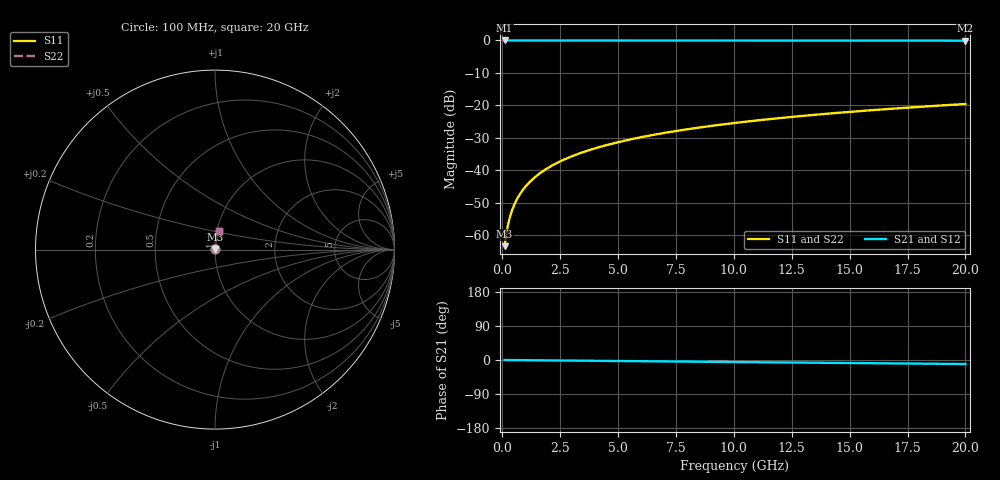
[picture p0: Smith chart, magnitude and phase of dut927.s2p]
! Touchstone file exported from HFSS 2026.1.0
!  File:  C:/ffzhzh/LocalFiles/Ansys_Project_Files/temp_train_TSV_927_1783186746_55132.aedt
!  Generated:  01:40:53 AM Jul  5, 2026
!  Design:  TSV
!  Project:  temp_train_TSV_927_1783186746_55132
! Variables:
!  h_bsmrdl = 2um
!  h_ox = 20um
!  h_rdl = 5um
!  h_sub = 81.26um
!  h_tmrdl = 5um
!  h_tsv = 81.26um
!  h_via = 3um
!  l_bsmrdl = 300um
!  l_sub = 410.48um
!  l_tmrdl = 200um
!  m_sub = 200um
!  pitch = 57.33um
!  r_tsv = 5.24um
!  s_tmrdl = 10um
!  w_bsmrdl = 18um
!  w_sub = 500um
!  w_tmrdl = 12um
!  x_tsv_center1 = 206um
!  x_tsv_center2 = 524um
!  x_tsv_center3 = 736um
!  x_tsv_center4 = 1054um
!  x_tsv_center5 = 1266um
!  x_tsv_center6 = 1584um
# GHz S MA R 50.000000
! Terminal data exported
! Port[1] = TSV1_1_T1
! Port[2] = TSV1_1_T2
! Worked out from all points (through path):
!   200 points, 100 MHz to 20 GHz, reference 50 ohm
!   highest |S21| = 0.00 dB at 100 MHz (marker M1); lowest = -0.1 dB at 20 GHz (marker M2)
!   group delay of S21, straight-line fit = 1.47 ps
!   lowest |S11| = -63.3 dB at 100 MHz (marker M3), VSWR 1.00, Z = 50 + j0.0572 ohm
!   |S11| at or under -10 dB: start of sweep to end of sweep
!   |S22| runs from -63.3 to -19.6 dB; largest |S21 - S12| = 2e-15
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0.1  0.0006806 57.1  0.9996 -0.1  0.9996 -0.1  0.0006806 57.1
! Gamma 0 0 0 0
! Port Impedance 50 0 50 0
0.2  0.001202 71.6  0.9996 -0.1  0.9996 -0.1  0.001202 71.6
0.3  0.001753 77.0  0.9996 -0.2  0.9996 -0.2  0.001753 77.0
0.4  0.002308 79.7  0.9996 -0.2  0.9996 -0.2  0.002308 79.7
0.5  0.002863 81.2  0.9996 -0.3  0.9996 -0.3  0.002863 81.2
0.7  0.003967 83.0  0.9995 -0.4  0.9995 -0.4  0.003967 83.0
0.8  0.004517 83.5  0.9995 -0.4  0.9995 -0.4  0.004517 83.5
1  0.005611 84.3  0.9995 -0.5  0.9995 -0.5  0.005611 84.3
1.2  0.006702 84.8  0.9994 -0.7  0.9994 -0.7  0.006702 84.8
1.4  0.00779 85.1  0.9994 -0.8  0.9994 -0.8  0.00779 85.1
1.7  0.00942 85.4  0.9993 -0.9  0.9993 -0.9  0.00942 85.4
2  0.01105 85.6  0.9993 -1.1  0.9993 -1.1  0.01105 85.6
2.7  0.01483 85.7  0.9991 -1.5  0.9991 -1.5  0.01483 85.7
3.5  0.01913 85.6  0.999 -1.9  0.999 -1.9  0.01913 85.6
4.2  0.02287 85.4  0.9988 -2.3  0.9988 -2.3  0.02287 85.4
5  0.02713 85.1  0.9986 -2.7  0.9986 -2.7  0.02713 85.1
6.8  0.03665 84.5  0.9981 -3.6  0.9981 -3.6  0.03665 84.5
8.3  0.04454 83.8  0.9977 -4.4  0.9977 -4.4  0.04454 83.8
10.1  0.05398 83.0  0.9971 -5.4  0.9971 -5.4  0.05398 83.0
13.4  0.07118 81.5  0.9958 -7.1  0.9958 -7.1  0.07118 81.5
16.7  0.08824 79.9  0.9942 -8.9  0.9942 -8.9  0.08824 79.9
20  0.1051 78.3  0.9924 -10.6  0.9924 -10.6  0.1051 78.3
